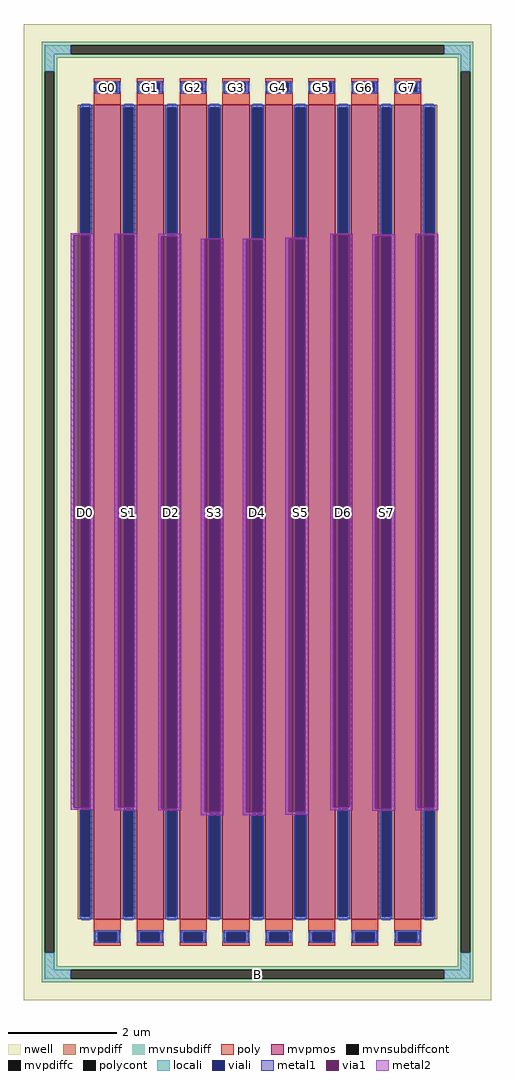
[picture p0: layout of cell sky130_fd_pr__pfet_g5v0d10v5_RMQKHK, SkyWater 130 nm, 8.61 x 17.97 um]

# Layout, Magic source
magic
tech sky130A
magscale 1 2
<< nwell >>
rect -861 -1797 861 1797
<< mvpmos >>
rect -603 -1500 -503 1500
rect -445 -1500 -345 1500
rect -287 -1500 -187 1500
rect -129 -1500 -29 1500
rect 29 -1500 129 1500
rect 187 -1500 287 1500
rect 345 -1500 445 1500
rect 503 -1500 603 1500
<< mvpdiff >>
rect -661 1488 -603 1500
rect -661 -1488 -649 1488
rect -615 -1488 -603 1488
rect -661 -1500 -603 -1488
rect -503 1488 -445 1500
rect -503 -1488 -491 1488
rect -457 -1488 -445 1488
rect -503 -1500 -445 -1488
rect -345 1488 -287 1500
rect -345 -1488 -333 1488
rect -299 -1488 -287 1488
rect -345 -1500 -287 -1488
rect -187 1488 -129 1500
rect -187 -1488 -175 1488
rect -141 -1488 -129 1488
rect -187 -1500 -129 -1488
rect -29 1488 29 1500
rect -29 -1488 -17 1488
rect 17 -1488 29 1488
rect -29 -1500 29 -1488
rect 129 1488 187 1500
rect 129 -1488 141 1488
rect 175 -1488 187 1488
rect 129 -1500 187 -1488
rect 287 1488 345 1500
rect 287 -1488 299 1488
rect 333 -1488 345 1488
rect 287 -1500 345 -1488
rect 445 1488 503 1500
rect 445 -1488 457 1488
rect 491 -1488 503 1488
rect 445 -1500 503 -1488
rect 603 1488 661 1500
rect 603 -1488 615 1488
rect 649 -1488 661 1488
rect 603 -1500 661 -1488
<< mvpdiffc >>
rect -649 -1488 -615 1488
rect -491 -1488 -457 1488
rect -333 -1488 -299 1488
rect -175 -1488 -141 1488
rect -17 -1488 17 1488
rect 141 -1488 175 1488
rect 299 -1488 333 1488
rect 457 -1488 491 1488
rect 615 -1488 649 1488
<< mvnsubdiff >>
rect -795 1719 795 1731
rect -795 1685 -687 1719
rect 687 1685 795 1719
rect -795 1673 795 1685
rect -795 1623 -737 1673
rect -795 -1623 -783 1623
rect -749 -1623 -737 1623
rect 737 1623 795 1673
rect -795 -1673 -737 -1623
rect 737 -1623 749 1623
rect 783 -1623 795 1623
rect 737 -1673 795 -1623
rect -795 -1685 795 -1673
rect -795 -1719 -687 -1685
rect 687 -1719 795 -1685
rect -795 -1731 795 -1719
<< mvnsubdiffcont >>
rect -687 1685 687 1719
rect -783 -1623 -749 1623
rect 749 -1623 783 1623
rect -687 -1719 687 -1685
<< poly >>
rect -603 1581 -503 1597
rect -603 1547 -587 1581
rect -519 1547 -503 1581
rect -603 1500 -503 1547
rect -445 1581 -345 1597
rect -445 1547 -429 1581
rect -361 1547 -345 1581
rect -445 1500 -345 1547
rect -287 1581 -187 1597
rect -287 1547 -271 1581
rect -203 1547 -187 1581
rect -287 1500 -187 1547
rect -129 1581 -29 1597
rect -129 1547 -113 1581
rect -45 1547 -29 1581
rect -129 1500 -29 1547
rect 29 1581 129 1597
rect 29 1547 45 1581
rect 113 1547 129 1581
rect 29 1500 129 1547
rect 187 1581 287 1597
rect 187 1547 203 1581
rect 271 1547 287 1581
rect 187 1500 287 1547
rect 345 1581 445 1597
rect 345 1547 361 1581
rect 429 1547 445 1581
rect 345 1500 445 1547
rect 503 1581 603 1597
rect 503 1547 519 1581
rect 587 1547 603 1581
rect 503 1500 603 1547
rect -603 -1547 -503 -1500
rect -603 -1581 -587 -1547
rect -519 -1581 -503 -1547
rect -603 -1597 -503 -1581
rect -445 -1547 -345 -1500
rect -445 -1581 -429 -1547
rect -361 -1581 -345 -1547
rect -445 -1597 -345 -1581
rect -287 -1547 -187 -1500
rect -287 -1581 -271 -1547
rect -203 -1581 -187 -1547
rect -287 -1597 -187 -1581
rect -129 -1547 -29 -1500
rect -129 -1581 -113 -1547
rect -45 -1581 -29 -1547
rect -129 -1597 -29 -1581
rect 29 -1547 129 -1500
rect 29 -1581 45 -1547
rect 113 -1581 129 -1547
rect 29 -1597 129 -1581
rect 187 -1547 287 -1500
rect 187 -1581 203 -1547
rect 271 -1581 287 -1547
rect 187 -1597 287 -1581
rect 345 -1547 445 -1500
rect 345 -1581 361 -1547
rect 429 -1581 445 -1547
rect 345 -1597 445 -1581
rect 503 -1547 603 -1500
rect 503 -1581 519 -1547
rect 587 -1581 603 -1547
rect 503 -1597 603 -1581
<< polycont >>
rect -587 1547 -519 1581
rect -429 1547 -361 1581
rect -271 1547 -203 1581
rect -113 1547 -45 1581
rect 45 1547 113 1581
rect 203 1547 271 1581
rect 361 1547 429 1581
rect 519 1547 587 1581
rect -587 -1581 -519 -1547
rect -429 -1581 -361 -1547
rect -271 -1581 -203 -1547
rect -113 -1581 -45 -1547
rect 45 -1581 113 -1547
rect 203 -1581 271 -1547
rect 361 -1581 429 -1547
rect 519 -1581 587 -1547
<< locali >>
rect -783 1685 -687 1719
rect 687 1685 783 1719
rect -783 1623 -749 1685
rect 749 1623 783 1685
rect -603 1547 -587 1581
rect -519 1547 -503 1581
rect -445 1547 -429 1581
rect -361 1547 -345 1581
rect -287 1547 -271 1581
rect -203 1547 -187 1581
rect -129 1547 -113 1581
rect -45 1547 -29 1581
rect 29 1547 45 1581
rect 113 1547 129 1581
rect 187 1547 203 1581
rect 271 1547 287 1581
rect 345 1547 361 1581
rect 429 1547 445 1581
rect 503 1547 519 1581
rect 587 1547 603 1581
rect -649 1488 -615 1504
rect -649 -1504 -615 -1488
rect -491 1488 -457 1504
rect -491 -1504 -457 -1488
rect -333 1488 -299 1504
rect -333 -1504 -299 -1488
rect -175 1488 -141 1504
rect -175 -1504 -141 -1488
rect -17 1488 17 1504
rect -17 -1504 17 -1488
rect 141 1488 175 1504
rect 141 -1504 175 -1488
rect 299 1488 333 1504
rect 299 -1504 333 -1488
rect 457 1488 491 1504
rect 457 -1504 491 -1488
rect 615 1488 649 1504
rect 615 -1504 649 -1488
rect -603 -1581 -587 -1547
rect -519 -1581 -503 -1547
rect -445 -1581 -429 -1547
rect -361 -1581 -345 -1547
rect -287 -1581 -271 -1547
rect -203 -1581 -187 -1547
rect -129 -1581 -113 -1547
rect -45 -1581 -29 -1547
rect 29 -1581 45 -1547
rect 113 -1581 129 -1547
rect 187 -1581 203 -1547
rect 271 -1581 287 -1547
rect 345 -1581 361 -1547
rect 429 -1581 445 -1547
rect 503 -1581 519 -1547
rect 587 -1581 603 -1547
rect -783 -1685 -749 -1623
rect 749 -1685 783 -1623
rect -783 -1719 -687 -1685
rect 687 -1719 783 -1685
<< viali >>
rect -587 1547 -519 1581
rect -429 1547 -361 1581
rect -271 1547 -203 1581
rect -113 1547 -45 1581
rect 45 1547 113 1581
rect 203 1547 271 1581
rect 361 1547 429 1581
rect 519 1547 587 1581
rect -649 -1488 -615 1488
rect -491 -1488 -457 1488
rect -333 -1488 -299 1488
rect -175 -1488 -141 1488
rect -17 -1488 17 1488
rect 141 -1488 175 1488
rect 299 -1488 333 1488
rect 457 -1488 491 1488
rect 615 -1488 649 1488
rect -587 -1581 -519 -1547
rect -429 -1581 -361 -1547
rect -271 -1581 -203 -1547
rect -113 -1581 -45 -1547
rect 45 -1581 113 -1547
rect 203 -1581 271 -1547
rect 361 -1581 429 -1547
rect 519 -1581 587 -1547
<< metal1 >>
rect -599 1581 -507 1587
rect -599 1547 -587 1581
rect -519 1547 -507 1581
rect -599 1541 -507 1547
rect -441 1581 -349 1587
rect -441 1547 -429 1581
rect -361 1547 -349 1581
rect -441 1541 -349 1547
rect -283 1581 -191 1587
rect -283 1547 -271 1581
rect -203 1547 -191 1581
rect -283 1541 -191 1547
rect -125 1581 -33 1587
rect -125 1547 -113 1581
rect -45 1547 -33 1581
rect -125 1541 -33 1547
rect 33 1581 125 1587
rect 33 1547 45 1581
rect 113 1547 125 1581
rect 33 1541 125 1547
rect 191 1581 283 1587
rect 191 1547 203 1581
rect 271 1547 283 1581
rect 191 1541 283 1547
rect 349 1581 441 1587
rect 349 1547 361 1581
rect 429 1547 441 1581
rect 349 1541 441 1547
rect 507 1581 599 1587
rect 507 1547 519 1581
rect 587 1547 599 1581
rect 507 1541 599 1547
rect -655 1488 -609 1500
rect -655 1027 -649 1488
rect -687 1019 -649 1027
rect -615 1027 -609 1488
rect -497 1488 -451 1500
rect -687 -1089 -677 1019
rect -687 -1097 -649 -1089
rect -655 -1488 -649 -1097
rect -615 -1097 -603 1027
rect -497 1025 -491 1488
rect -527 1021 -491 1025
rect -457 1025 -451 1488
rect -339 1488 -293 1500
rect -339 1025 -333 1488
rect -457 1021 -443 1025
rect -527 -1087 -513 1021
rect -453 -1087 -443 1021
rect -615 -1488 -609 -1097
rect -527 -1099 -491 -1087
rect -655 -1500 -609 -1488
rect -497 -1488 -491 -1099
rect -457 -1099 -443 -1087
rect -365 1015 -333 1025
rect -299 1025 -293 1488
rect -181 1488 -135 1500
rect -299 1015 -281 1025
rect -365 -1093 -355 1015
rect -295 -1093 -281 1015
rect -181 1007 -175 1488
rect -365 -1099 -333 -1093
rect -457 -1488 -451 -1099
rect -497 -1500 -451 -1488
rect -339 -1488 -333 -1099
rect -299 -1099 -281 -1093
rect -209 1005 -175 1007
rect -141 1007 -135 1488
rect -23 1488 23 1500
rect -23 1007 -17 1488
rect -141 1005 -125 1007
rect -299 -1488 -293 -1099
rect -209 -1103 -195 1005
rect -135 -1103 -125 1005
rect -209 -1117 -175 -1103
rect -339 -1500 -293 -1488
rect -181 -1488 -175 -1117
rect -141 -1117 -125 -1103
rect -55 1003 -17 1007
rect 17 1007 23 1488
rect 135 1488 181 1500
rect 135 1009 141 1488
rect 17 1003 29 1007
rect -55 -1105 -41 1003
rect 19 -1105 29 1003
rect -55 -1117 -17 -1105
rect -141 -1488 -135 -1117
rect -181 -1500 -135 -1488
rect -23 -1488 -17 -1117
rect 17 -1117 29 -1105
rect 103 1005 141 1009
rect 175 1009 181 1488
rect 293 1488 339 1500
rect 293 1025 299 1488
rect 267 1021 299 1025
rect 333 1025 339 1488
rect 451 1488 497 1500
rect 333 1021 351 1025
rect 451 1023 457 1488
rect 103 -1103 115 1005
rect 103 -1115 141 -1103
rect 17 -1488 23 -1117
rect -23 -1500 23 -1488
rect 135 -1488 141 -1115
rect 175 -1115 187 1009
rect 267 -1087 279 1021
rect 339 -1087 351 1021
rect 267 -1099 299 -1087
rect 175 -1488 181 -1115
rect 135 -1500 181 -1488
rect 293 -1488 299 -1099
rect 333 -1099 351 -1087
rect 423 1015 457 1023
rect 491 1023 497 1488
rect 609 1488 655 1500
rect 609 1025 615 1488
rect 491 1015 507 1023
rect 423 -1093 433 1015
rect 493 -1093 507 1015
rect 333 -1488 339 -1099
rect 423 -1101 457 -1093
rect 293 -1500 339 -1488
rect 451 -1488 457 -1101
rect 491 -1101 507 -1093
rect 581 1019 615 1025
rect 649 1025 655 1488
rect 649 1019 665 1025
rect 581 -1089 591 1019
rect 651 -1089 665 1019
rect 581 -1099 615 -1089
rect 491 -1488 497 -1101
rect 451 -1500 497 -1488
rect 609 -1488 615 -1099
rect 649 -1099 665 -1089
rect 649 -1488 655 -1099
rect 609 -1500 655 -1488
rect -599 -1547 -507 -1541
rect -599 -1581 -587 -1547
rect -519 -1581 -507 -1547
rect -599 -1587 -507 -1581
rect -441 -1547 -349 -1541
rect -441 -1581 -429 -1547
rect -361 -1581 -349 -1547
rect -441 -1587 -349 -1581
rect -283 -1547 -191 -1541
rect -283 -1581 -271 -1547
rect -203 -1581 -191 -1547
rect -283 -1587 -191 -1581
rect -125 -1547 -33 -1541
rect -125 -1581 -113 -1547
rect -45 -1581 -33 -1547
rect -125 -1587 -33 -1581
rect 33 -1547 125 -1541
rect 33 -1581 45 -1547
rect 113 -1581 125 -1547
rect 33 -1587 125 -1581
rect 191 -1547 283 -1541
rect 191 -1581 203 -1547
rect 271 -1581 283 -1547
rect 191 -1587 283 -1581
rect 349 -1547 441 -1541
rect 349 -1581 361 -1547
rect 429 -1581 441 -1547
rect 349 -1587 441 -1581
rect 507 -1547 599 -1541
rect 507 -1581 519 -1547
rect 587 -1581 599 -1547
rect 507 -1587 599 -1581
<< via1 >>
rect -677 -1089 -649 1019
rect -649 -1089 -617 1019
rect -513 -1087 -491 1021
rect -491 -1087 -457 1021
rect -457 -1087 -453 1021
rect -355 -1093 -333 1015
rect -333 -1093 -299 1015
rect -299 -1093 -295 1015
rect -195 -1103 -175 1005
rect -175 -1103 -141 1005
rect -141 -1103 -135 1005
rect -41 -1105 -17 1003
rect -17 -1105 17 1003
rect 17 -1105 19 1003
rect 115 -1103 141 1005
rect 141 -1103 175 1005
rect 279 -1087 299 1021
rect 299 -1087 333 1021
rect 333 -1087 339 1021
rect 433 -1093 457 1015
rect 457 -1093 491 1015
rect 491 -1093 493 1015
rect 591 -1089 615 1019
rect 615 -1089 649 1019
rect 649 -1089 651 1019
<< metal2 >>
rect -687 1019 -603 1027
rect -687 -1089 -677 1019
rect -617 -1089 -603 1019
rect -687 -1097 -603 -1089
rect -527 1021 -443 1025
rect -527 -1087 -513 1021
rect -453 -1087 -443 1021
rect -527 -1099 -443 -1087
rect -365 1015 -281 1025
rect -365 -1093 -355 1015
rect -295 -1093 -281 1015
rect 267 1021 351 1025
rect -365 -1099 -281 -1093
rect -209 1005 -125 1007
rect -209 -1103 -195 1005
rect -135 -1103 -125 1005
rect -209 -1117 -125 -1103
rect -55 1003 29 1007
rect -55 -1105 -41 1003
rect 19 -1105 29 1003
rect -55 -1117 29 -1105
rect 103 1005 187 1009
rect 103 -1103 115 1005
rect 175 -1103 187 1005
rect 267 -1087 279 1021
rect 339 -1087 351 1021
rect 267 -1099 351 -1087
rect 423 1015 507 1023
rect 423 -1093 433 1015
rect 493 -1093 507 1015
rect 423 -1101 507 -1093
rect 581 1019 665 1025
rect 581 -1089 591 1019
rect 651 -1089 665 1019
rect 581 -1099 665 -1089
rect 103 -1115 187 -1103
<< labels >>
rlabel mvnsubdiffcont 0 -1702 0 -1702 0 B
port 1 nsew
rlabel mvpdiffc -632 0 -632 0 0 D0
port 2 nsew
rlabel polycont -553 1564 -553 1564 0 G0
port 3 nsew
rlabel mvpdiffc -474 0 -474 0 0 S1
port 4 nsew
rlabel polycont -395 1564 -395 1564 0 G1
port 5 nsew
rlabel mvpdiffc -316 0 -316 0 0 D2
port 6 nsew
rlabel polycont -237 1564 -237 1564 0 G2
port 7 nsew
rlabel mvpdiffc -158 0 -158 0 0 S3
port 8 nsew
rlabel polycont -79 1564 -79 1564 0 G3
port 9 nsew
rlabel mvpdiffc 0 0 0 0 0 D4
port 10 nsew
rlabel polycont 79 1564 79 1564 0 G4
port 11 nsew
rlabel mvpdiffc 158 0 158 0 0 S5
port 12 nsew
rlabel polycont 237 1564 237 1564 0 G5
port 13 nsew
rlabel mvpdiffc 316 0 316 0 0 D6
port 14 nsew
rlabel polycont 395 1564 395 1564 0 G6
port 15 nsew
rlabel mvpdiffc 474 0 474 0 0 S7
port 16 nsew
rlabel polycont 553 1564 553 1564 0 G7
port 17 nsew
<< properties >>
string FIXED_BBOX -766 -1702 766 1702
string gencell sky130_fd_pr__pfet_g5v0d10v5
string library sky130
string parameters w 15 l .5 m 1 nf 8 diffcov 100 polycov 100 guard 1 glc 1 grc 1 gtc 1 gbc 1 tbcov 100 rlcov 100 topc 1 botc 1 poverlap 0 doverlap 1 lmin 0.50 wmin 0.42 class mosfet compatible {sky130_fd_pr__pfet_01v8  sky130_fd_pr__pfet_01v8_lvt sky130_fd_pr__pfet_01v8_hvt  sky130_fd_pr__pfet_g5v0d10v5} full_metal 1 conn_gates 0 viasrc 100 viadrn 100 viagate 100 viagb 0 viagr 0 viagl 0 viagt 0 doports 1
<< end >>
